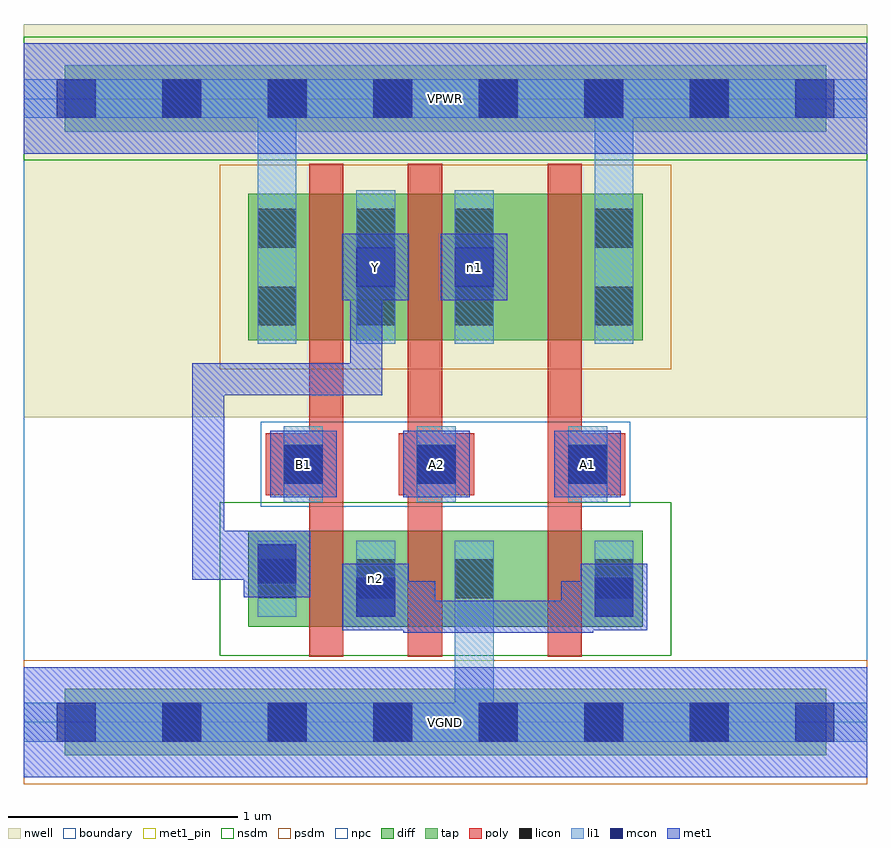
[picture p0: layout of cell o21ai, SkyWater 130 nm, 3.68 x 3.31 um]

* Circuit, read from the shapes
.subckt o21ai A1 A2 B1 VGND VPWR Y n1 n2
XM1 n2 B1 Y VGND sky130_fd_pr__nfet_01v8 w=0.42 l=0.15
XM2 VGND A2 n2 VGND sky130_fd_pr__nfet_01v8 w=0.42 l=0.15
XM3 n2 A1 VGND VGND sky130_fd_pr__nfet_01v8 w=0.42 l=0.15
XM4 Y B1 VPWR VPWR sky130_fd_pr__pfet_01v8 w=0.64 l=0.15
XM5 n1 A2 Y VPWR sky130_fd_pr__pfet_01v8 w=0.64 l=0.15
XM6 VPWR A1 n1 VPWR sky130_fd_pr__pfet_01v8 w=0.64 l=0.15
.ends

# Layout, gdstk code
import gdstk
lib = gdstk.Library(unit=1e-6, precision=1e-09)
def R(c, l, rs):  # rectangles x0, y0, x1, y1
    for r in rs: c.add(gdstk.rectangle(r[:2], r[2:], *l))
def A(c, l, x, y, w, h, nx, ny, dx, dy):  # array of equal rectangles
    R(c, l, [(x+i*dx, y+j*dy, x+i*dx+w, y+j*dy+h) for i in range(nx) for j in range(ny)])
nwell = (64, 20)
diff = (65, 20)
tap = (65, 44)
poly = (66, 20)
licon = (66, 44)
li1 = (67, 20)
mcon = (67, 44)
met1_pin = (68, 16)
met1 = (68, 20)
nsdm = (93, 44)
psdm = (94, 20)
npc = (95, 20)
boundary = (235, 4)

o21ai = lib.new_cell('o21ai')
R(o21ai, nwell, [(0,1.33,3.68,3.045)])
R(o21ai, diff, [(0.98,0.415,2.7,0.835), (0.98,1.665,2.7,2.305)])
R(o21ai, tap, [(0.18,-0.145,3.5,0.145), (0.18,2.575,3.5,2.865)])
R(o21ai, poly, [(1.245,0.285,1.395,2.435), (1.675,0.285,1.825,2.435), (2.285,0.285,2.435,2.435), (1.055,0.99,1.385,1.26), (1.635,0.99,1.965,1.26), (2.295,0.99,2.625,1.26)])
A(o21ai, licon, 0.605, -0.085, 0.17, 0.17, 6, 2, 0.46, 2.72)
A(o21ai, licon, 1.02, 0.54, 0.17, 0.17, 3, 2, 0.43, 1.19)
A(o21ai, licon, 1.02, 2.07, 0.17, 0.17, 3, 1, 0.43, 0)
R(o21ai, licon, [(2.49,0.54,2.66,0.71), (1.135,1.04,1.305,1.21), (1.715,1.04,1.885,1.21), (2.375,1.04,2.545,1.21), (2.49,1.73,2.66,1.9), (2.49,2.07,2.66,2.24)])
A(o21ai, li1, 1.02, 0.46, 0.17, 0.33, 3, 1, 0.43, 0)
A(o21ai, li1, 1.02, 1.65, 0.17, 0.67, 3, 1, 0.43, 0)
R(o21ai, li1, [(0,-0.085,3.68,0.085), (1.88,-0.085,2.05,0.79), (2.49,0.46,2.66,0.79), (1.135,0.96,1.305,1.29), (1.715,0.96,1.885,1.29), (2.375,0.96,2.545,1.29), (1.02,1.65,1.19,2.805), (2.49,1.65,2.66,2.32), (2.49,1.65,2.66,2.805), (0,2.635,3.68,2.805)])
A(o21ai, mcon, 0.145, -0.085, 0.17, 0.17, 8, 2, 0.46, 2.72)
R(o21ai, mcon, [(1.45,0.46,1.62,0.63), (2.49,0.46,2.66,0.63), (1.02,0.605,1.19,0.775), (1.135,1.04,1.305,1.21), (1.715,1.04,1.885,1.21), (2.375,1.04,2.545,1.21), (1.45,1.9,1.62,2.07), (1.88,1.9,2.05,2.07)])
R(o21ai, met1_pin, [(0,-0.24,3.68,0.24), (1.075,0.98,1.365,1.27), (1.655,0.98,1.945,1.27), (2.315,0.98,2.605,1.27), (1.39,1.84,1.68,2.13), (0,2.48,3.68,2.96)])
R(o21ai, met1, [(0,-0.24,3.68,0.24), (1.655,0.39,2.485,0.53), (1.655,0.39,1.795,0.615), (2.345,0.39,2.485,0.615), (1.39,0.4,1.68,0.69), (2.43,0.4,2.72,0.69), (1.465,0.475,1.795,0.615), (2.345,0.475,2.645,0.615), (0.96,0.545,1.25,0.835), (0.735,0.62,0.875,1.565), (0.735,0.62,0.99,0.76), (0.85,0.62,1.175,0.76), (0.875,0.62,0.96,0.835), (0.875,0.62,0.96,0.835), (0.875,0.62,0.96,0.835), (0.875,0.62,0.96,0.835), (0.875,0.62,0.96,0.835), (0.875,0.62,0.96,0.835), (1.075,0.98,1.365,1.27), (1.655,0.98,1.945,1.27), (2.315,0.98,2.605,1.27), (0.735,1.425,1.565,1.565), (1.425,1.425,1.565,2.025), (1.39,1.84,1.68,2.13), (1.82,1.84,2.11,2.13), (1.425,1.885,1.565,2.025), (0,2.48,3.68,2.96)])
R(o21ai, nsdm, [(0.855,0.29,2.825,0.96), (0,2.45,3.68,2.99)])
R(o21ai, psdm, [(0,-0.27,3.68,0.27), (0.855,1.54,2.825,2.43)])
R(o21ai, npc, [(1.035,0.94,2.645,1.31)])
R(o21ai, boundary, [(0,0,3.68,2.72)])
o21ai.add(gdstk.Label('n2', (1.535,0.625), layer=67, texttype=5))
o21ai.add(gdstk.Label('n1', (1.965,1.985), layer=67, texttype=5))
o21ai.add(gdstk.Label('A1', (2.46,1.125), layer=68, texttype=5))
o21ai.add(gdstk.Label('A2', (1.8,1.125), layer=68, texttype=5))
o21ai.add(gdstk.Label('B1', (1.22,1.125), layer=68, texttype=5))
o21ai.add(gdstk.Label('Y', (1.535,1.985), layer=68, texttype=5))
o21ai.add(gdstk.Label('VPWR', (1.84,2.72), layer=68, texttype=5))
o21ai.add(gdstk.Label('VGND', (1.84,0), layer=68, texttype=5))
o21ai.add(gdstk.Label('A1', (2.46,1.125), layer=68, texttype=16))
o21ai.add(gdstk.Label('A2', (1.8,1.125), layer=68, texttype=16))
o21ai.add(gdstk.Label('B1', (1.22,1.125), layer=68, texttype=16))
o21ai.add(gdstk.Label('Y', (1.535,1.985), layer=68, texttype=16))
o21ai.add(gdstk.Label('VPWR', (1.84,2.72), layer=68, texttype=16))
o21ai.add(gdstk.Label('VGND', (1.84,0), layer=68, texttype=16))

lib.write_gds('o21ai.gds')
